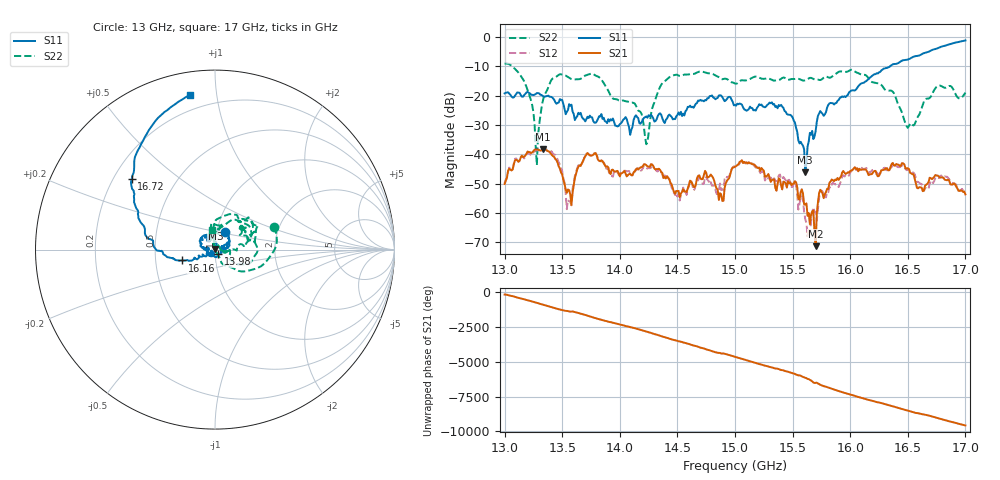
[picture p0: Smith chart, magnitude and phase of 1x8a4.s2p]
!Keysight Technologies,P9374A,MY57211807,A.19.30.04
!Date: Friday, May 08, 2026 14:10:05
!Correction: S11(C  2-Port  )
!S21(C  2-Port  )
!S12(C  2-Port  )
!S22(C  2-Port  )
!S2P File: Measurements: S11, S21, S12, S22:
# Hz S  dB  R 50
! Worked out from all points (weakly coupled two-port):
!   401 points, 13 GHz to 17 GHz, reference 50 ohm
!   highest |S21| = -38.17 dB at 13.33 GHz (marker M1); lowest = -71.3 dB at 15.7 GHz (marker M2)
!   lowest |S11| = -46.2 dB at 15.61 GHz (marker M3), VSWR 1.01, Z = 50.2 + j0.439 ohm
!   |S11| at or under -10 dB: start of sweep to 16.35 GHz
!   |S22| runs from -43.7 to -9.0 dB; largest |S21 - S12| = 0.0016
!   S11 on the Smith chart (normalised r, x): 13 GHz: 1.09, +0.21; 13.98 GHz: 1.04, -0.05; 16.16 GHz: 0.69, -0.09; 16.72 GHz: 0.27, +0.34; 17 GHz: 0.12, +0.84
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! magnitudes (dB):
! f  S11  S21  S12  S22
! 13 GHz  -19.2  -50.1  -49.8  -9.0
! 13.18 GHz  -19.4  -40.4  -40.8  -16.0
! 13.28 GHz  -19.1  -38.4  -38.7  -43.7
! 13.33 GHz  -20.1  -38.2  -38.1  -22.1
! 13.46 GHz  -22.4  -42.8  -41.8  -13.2
! 13.56 GHz  -22.9  -52.2  -56.0  -13.9
! 13.67 GHz  -27.2  -43.1  -43.3  -14.0
! 13.98 GHz  -30.5  -45.6  -46.2  -21.3
! 14.23 GHz  -27.1  -43.7  -44.7  -36.5
! 14.34 GHz  -26.2  -44.9  -45.0  -17.8
! 14.88 GHz  -20.0  -53.6  -52.2  -14.3
! 15 GHz  -23.2  -44.2  -44.3  -15.9
! 15.4 GHz  -23.1  -50.6  -48.1  -14.3
! 15.61 GHz  -46.2  -57.1  -62.1  -14.8
! 15.67 GHz  -32.0  -59.5  -59.8  -14.1
! 15.7 GHz  -32.1  -71.3  -59.6  -14.5
! 15.84 GHz  -22.5  -48.6  -50.3  -13.6
! 16.16 GHz  -14.3  -47.1  -46.4  -14.2
! 16.34 GHz  -10.2  -45.4  -45.2  -18.3
! 16.5 GHz  -7.7  -44.7  -45.2  -31.0
! 16.72 GHz  -4.3  -48.1  -49.8  -18.7
! 17 GHz  -1.2  -53.6  -53.4  -19.0
